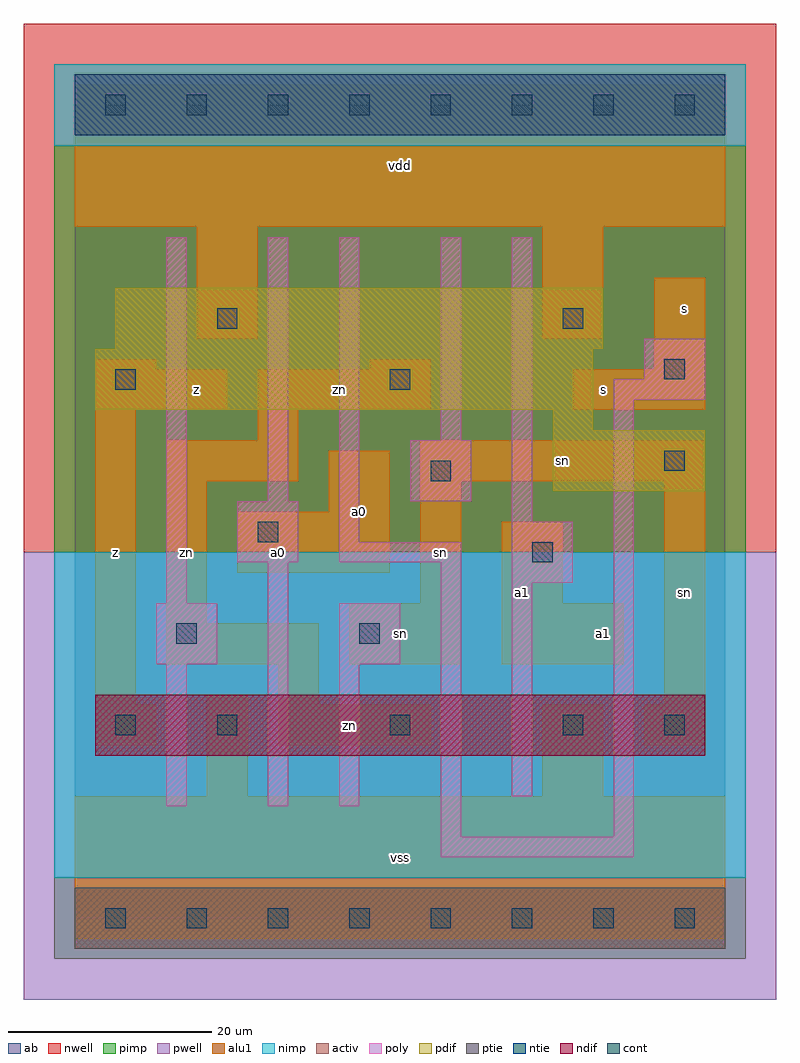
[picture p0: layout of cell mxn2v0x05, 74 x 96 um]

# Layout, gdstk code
import gdstk
lib = gdstk.Library(unit=1e-6, precision=1e-09)
def R(c, l, rs):  # rectangles x0, y0, x1, y1
    for r in rs: c.add(gdstk.rectangle(r[:2], r[2:], *l))
def A(c, l, x, y, w, h, nx, ny, dx, dy):  # array of equal rectangles
    R(c, l, [(x+i*dx, y+j*dy, x+i*dx+w, y+j*dy+h) for i in range(nx) for j in range(ny)])
ndif = (3, 0)
pdif = (4, 0)
ntie = (5, 0)
ptie = (6, 0)
cont = (25, 0)
pwell = (41, 0)
nwell = (42, 0)
activ = (43, 0)
pimp = (44, 0)
nimp = (45, 0)
poly = (46, 0)
alu1 = (49, 0)
ab = (63, 0)

mxn2v0x05 = lib.new_cell('mxn2v0x05')
R(mxn2v0x05, ndif, [(2,16,62,22)])
R(mxn2v0x05, pdif, [(47,42,62,48), (47,48,51,50), (2,50,51,56), (4,56,52,62)])
R(mxn2v0x05, ntie, [(0,77,64,83)])
R(mxn2v0x05, ptie, [(0,-3,64,3)])
A(mxn2v0x05, cont, 3, -1, 2, 2, 8, 2, 8, 80)
A(mxn2v0x05, cont, 14, 18, 2, 2, 3, 1, 17, 0)
R(mxn2v0x05, cont, [(4,18,6,20), (58,18,60,20), (10,27,12,29), (28,27,30,29), (45,35,47,37), (18,37,20,39), (35,43,37,45), (58,44,60,46), (4,52,6,54), (31,52,33,54), (58,53,60,55), (14,58,16,60), (48,58,50,60)])
R(mxn2v0x05, pwell, [(-5,-8,69,36)])
R(mxn2v0x05, nwell, [(-5,36,69,88)])
R(mxn2v0x05, activ, [(0,-3,64,3), (2,16,62,22), (47,42,62,48), (47,48,51,50), (2,50,51,56), (4,56,52,62), (0,77,64,83)])
R(mxn2v0x05, pimp, [(-2,-4,66,4), (-2,36,66,76)])
R(mxn2v0x05, nimp, [(-2,4,66,36), (-2,76,66,84)])
R(mxn2v0x05, poly, [(36,6,55,8), (36,8,38,35), (53,8,55,51), (9,11,11,25), (19,11,21,35), (26,11,28,25), (43,12,45,33), (8,25,14,31), (26,25,32,31), (9,31,11,67), (43,33,49,39), (16,35,22,41), (26,35,38,37), (26,37,28,67), (43,39,45,67), (19,41,21,67), (33,41,39,47), (36,47,38,67), (53,51,62,53), (56,53,62,57)])
R(mxn2v0x05, alu1, [(0,-2,64,12), (13,12,17,22), (46,12,52,21), (2,17,8,21), (20,17,35,21), (56,17,62,21), (2,21,6,50), (20,21,24,25), (58,21,62,43), (9,25,24,29), (27,25,38,31), (42,25,54,31), (9,29,13,43), (34,31,38,43), (42,31,48,39), (16,34,31,40), (25,40,31,46), (9,43,22,47), (34,43,62,47), (18,47,22,50), (2,50,15,54), (18,50,35,54), (49,50,62,54), (2,54,8,55), (29,54,35,55), (57,54,62,63), (12,57,18,68), (46,57,52,68), (0,68,64,82)])
R(mxn2v0x05, ab, [(0,0,64,80)])
mxn2v0x05.add(gdstk.Label('zn', (11,36), layer=49, texttype=0))
mxn2v0x05.add(gdstk.Label('zn', (27,19), layer=49, texttype=0))
mxn2v0x05.add(gdstk.Label('sn', (32,28), layer=49, texttype=0))
mxn2v0x05.add(gdstk.Label('sn', (36,36), layer=49, texttype=0))
mxn2v0x05.add(gdstk.Label('zn', (26,52), layer=49, texttype=0))
mxn2v0x05.add(gdstk.Label('sn', (60,32), layer=49, texttype=0))
mxn2v0x05.add(gdstk.Label('sn', (48,45), layer=49, texttype=0))
mxn2v0x05.add(gdstk.Label('z', (4,36), layer=49, texttype=0))
mxn2v0x05.add(gdstk.Label('z', (12,52), layer=49, texttype=0))
mxn2v0x05.add(gdstk.Label('a0', (20,36), layer=49, texttype=0))
mxn2v0x05.add(gdstk.Label('a0', (28,40), layer=49, texttype=0))
mxn2v0x05.add(gdstk.Label('vss', (32,6), layer=49, texttype=0))
mxn2v0x05.add(gdstk.Label('a1', (44,32), layer=49, texttype=0))
mxn2v0x05.add(gdstk.Label('vdd', (32,74), layer=49, texttype=0))
mxn2v0x05.add(gdstk.Label('a1', (52,28), layer=49, texttype=0))
mxn2v0x05.add(gdstk.Label('s', (52,52), layer=49, texttype=0))
mxn2v0x05.add(gdstk.Label('s', (60,60), layer=49, texttype=0))

lib.write_gds('mxn2v0x05.gds')
